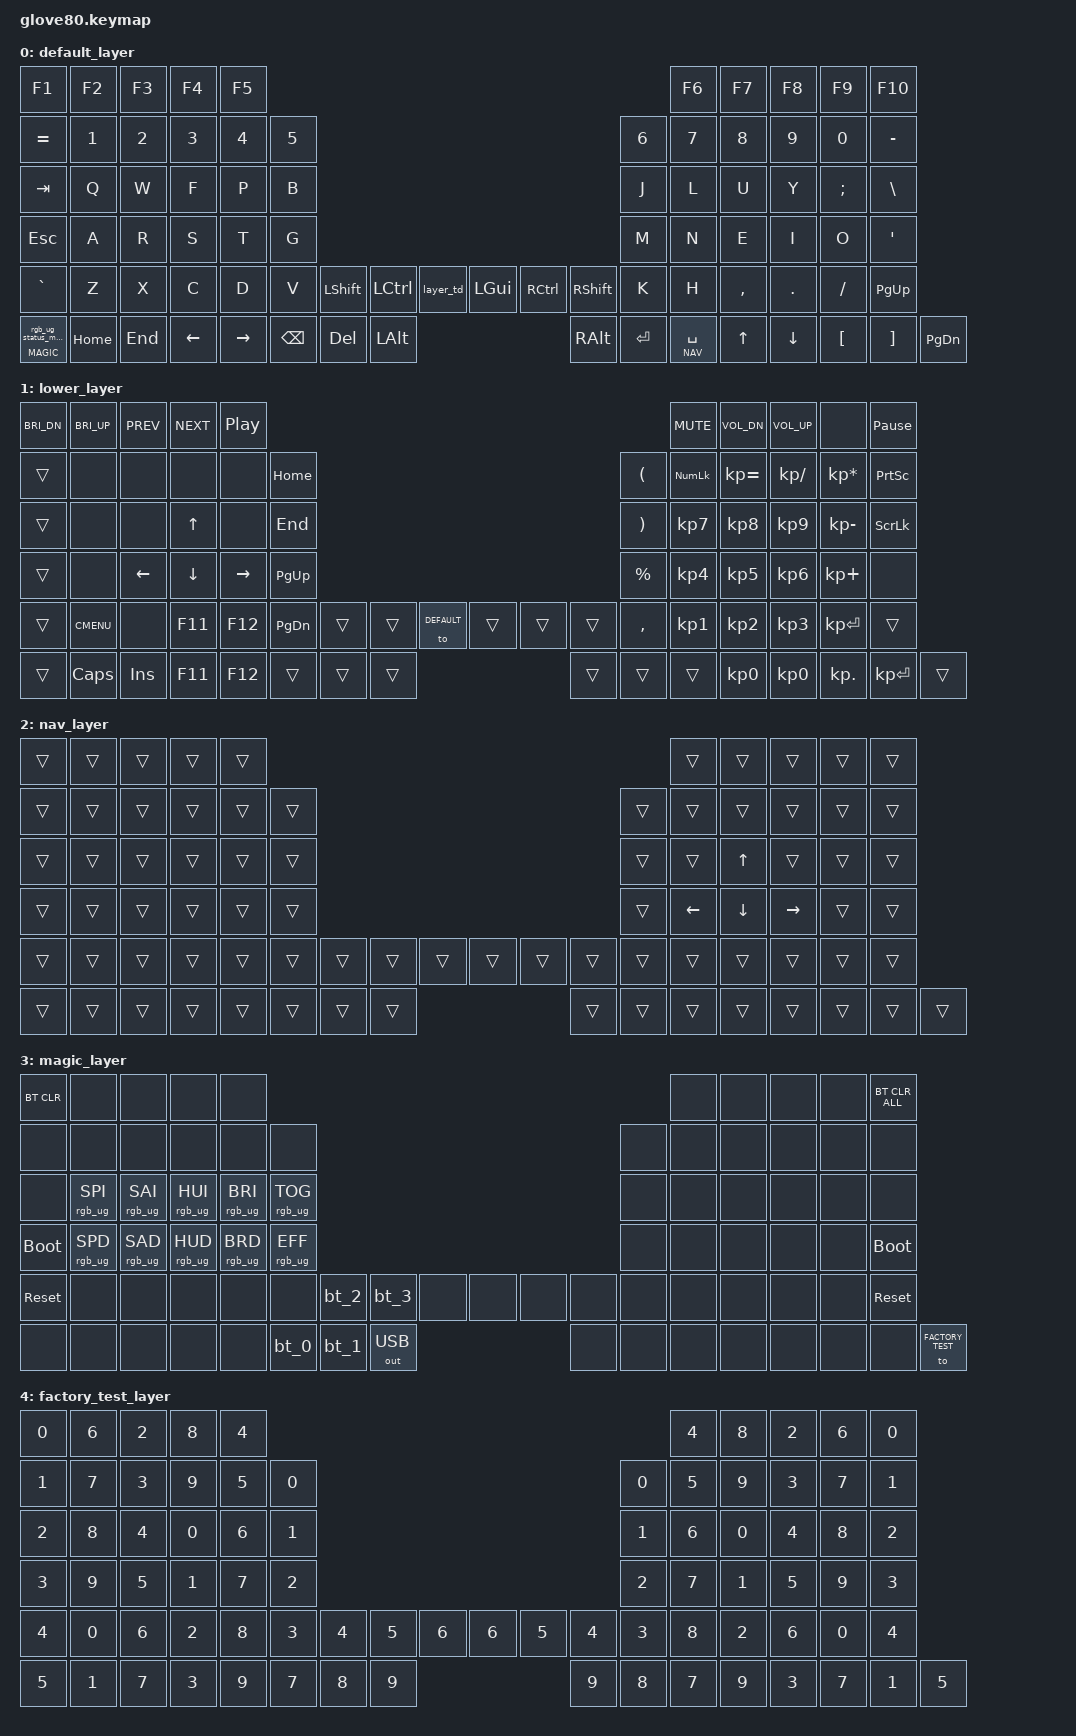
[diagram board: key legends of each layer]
/*
 * Copyright (c) 2020 The ZMK Contributors
 *
 * SPDX-License-Identifier: MIT
 */

#include <behaviors.dtsi>
#include <dt-bindings/zmk/keys.h>
#include <dt-bindings/zmk/bt.h>
#include <dt-bindings/zmk/ext_power.h>
#include <dt-bindings/zmk/outputs.h>
#include <dt-bindings/zmk/rgb.h>

#define HYPER LC(LS(LG(LALT)))

// layers
#define DEFAULT 0
#define LOWER 1
#define NAV 2
#define MAGIC 3
#define FACTORY_TEST 4

/ {
    behaviors {
        // For the "layer" key, it'd nice to be able to use it as either a shift or a toggle.
        // Configure it as a tap dance, so the first tap (or hold) is a &mo and the second tap is a &to
        layer_td: tap_dance_0 {
            compatible = "zmk,behavior-tap-dance";
            label = "LAYER_TAP_DANCE";
            #binding-cells = <0>;
            tapping-term-ms = <200>;
            bindings = <&mo LOWER>, <&to LOWER>;
        };

        magic: magic_hold_tap {
            compatible = "zmk,behavior-hold-tap";
            label = "MAGIC_HOLD_TAP";
            #binding-cells = <2>;
            flavor = "tap-preferred";
            tapping-term-ms = <200>;
            bindings = <&mo>, <&rgb_ug_status_macro>;
        };

        // Navigation layer hold-tap: hold for nav layer, tap for space
        nav_hold_tap: nav_hold_tap {
            compatible = "zmk,behavior-hold-tap";
            label = "NAV_HOLD_TAP";
            #binding-cells = <2>;
            flavor = "balanced";
            tapping-term-ms = <200>;
            bindings = <&mo>, <&kp>;
        };
    };

    macros {
        rgb_ug_status_macro: rgb_ug_status_macro_0 {
            label = "RGB_UG_STATUS";
            compatible = "zmk,behavior-macro";
            #binding-cells = <0>;
            bindings
                = <&rgb_ug RGB_STATUS>;
        };

        bt_0: bt_profile_macro_0 {
            label = "BT_0";
            compatible = "zmk,behavior-macro";
            #binding-cells = <0>;
            bindings
                = <&out OUT_BLE>,
                  <&bt BT_SEL 0>;
        };

        bt_1: bt_profile_macro_1 {
            label = "BT_1";
            compatible = "zmk,behavior-macro";
            #binding-cells = <0>;
            bindings
                = <&out OUT_BLE>,
                  <&bt BT_SEL 1>;
        };

        bt_2: bt_profile_macro_2 {
            label = "BT_2";
            compatible = "zmk,behavior-macro";
            #binding-cells = <0>;
            bindings
                = <&out OUT_BLE>,
                  <&bt BT_SEL 2>;
        };

        bt_3: bt_profile_macro_3 {
            label = "BT_3";
            compatible = "zmk,behavior-macro";
            #binding-cells = <0>;
            bindings
                = <&out OUT_BLE>,
                  <&bt BT_SEL 3>;
        };
    };

    keymap {
        compatible = "zmk,keymap";

        default_layer {
            // Colemak Mod-DH layout
            // ---------------------------------------------------------------------------------------------------------------------------------
            // |  F1   |  F2 |  F3 |  F4  |  F5  |                                                               |  F6   |  F7   |  F8  |   F9  |  F10 |
            // |  =    |  1  |  2  |  3   |  4   |  5   |                                                 |  6   |   7   |   8   |  9   |   0   |   -  |
            // |  TAB  |  Q  |  W  |  F   |  P   |  B   |                                                 |  J   |   L   |   U   |  Y   |   ;   |   \  |
            // |  ESC  |  A  |  R  |  S   |  T   |  G   |                                                 |  M   |   N   |   E   |  I   |   O   |   "  |
            // |   `   |  Z  |  X  |  C   |  D   |  V   | LSHFT | LCTRL | LOWER | | LGUI  | RCTRL | RSHFT |  K   |   H   |   ,   |  .   |   /   | PGUP |
            // | MAGIC | HOME| END | LEFT | RIGHT|      | BSPC  | DEL   | LALT  | | RALT  | RET   | NAV   |      |  UP   | DOWN  |  [   |   ]   | PGDN |

            bindings = <
            &kp F1         &kp F2   &kp F3      &kp F4      &kp F5                                                                                         &kp F6  &kp F7      &kp F8      &kp F9      &kp F10
            &kp EQUAL      &kp N1   &kp N2      &kp N3      &kp N4      &kp N5                                                                     &kp N6  &kp N7  &kp N8      &kp N9      &kp N0      &kp MINUS
            &kp TAB        &kp Q    &kp W       &kp F       &kp P       &kp B                                                                      &kp J   &kp L   &kp U       &kp Y       &kp SEMI    &kp BSLH
            &kp ESC        &kp A    &kp R       &kp S       &kp T       &kp G                                                                      &kp M   &kp N   &kp E       &kp I       &kp O       &kp SQT
            &kp GRAVE      &kp Z    &kp X       &kp C       &kp D       &kp V   &kp LSHFT   &kp LCTRL   &layer_td  &kp LGUI  &kp RCTRL &kp RSHFT   &kp K   &kp H   &kp COMMA   &kp DOT     &kp FSLH    &kp PG_UP
            &magic MAGIC 0 &kp HOME &kp END     &kp LEFT    &kp RIGHT           &kp BSPC    &kp DEL     &kp LALT   &kp RALT  &kp RET   &nav_hold_tap NAV SPACE        &kp UP  &kp DOWN    &kp LBKT    &kp RBKT    &kp PG_DN
            >;
        };

        lower_layer {
            bindings = <
            &kp C_BRI_DN      &kp C_BRI_UP        &kp C_PREV      &kp C_NEXT      &kp C_PP                                                                                                           &kp C_MUTE   &kp C_VOL_DN &kp C_VOL_UP  &none           &kp PAUSE_BREAK
            &trans            &none               &none           &none           &none           &kp HOME                                                                              &kp LPAR     &kp KP_NUM   &kp KP_EQUAL &kp KP_DIVIDE &kp KP_MULTIPLY &kp PSCRN
            &trans            &none               &none           &kp UP          &none           &kp END                                                                               &kp RPAR     &kp KP_N7    &kp KP_N8    &kp KP_N9     &kp KP_MINUS    &kp SLCK
            &trans            &none               &kp LEFT        &kp DOWN        &kp RIGHT       &kp PG_UP                                                                             &kp PRCNT    &kp KP_N4    &kp KP_N5    &kp KP_N6     &kp KP_PLUS     &none
            &trans            &kp K_CMENU         &none           &kp F11         &kp F12         &kp PG_DN       &trans      &trans      &to DEFAULT &trans      &trans      &trans    &kp COMMA    &kp KP_N1    &kp KP_N2    &kp KP_N3     &kp KP_ENTER    &trans
            &trans            &kp CAPS            &kp INS         &kp F11         &kp F12                         &trans      &trans      &trans      &trans      &trans      &trans                 &kp KP_N0    &kp KP_N0    &kp KP_DOT    &kp KP_ENTER    &trans
            >;
        };

        nav_layer {
            // Navigation layer - NEIU layout for Colemak Mod-DH
            // Hold the right thumb NAV key to activate this layer
            // Mapped to home row and surrounding keys:
            // N = LEFT, E = DOWN, I = RIGHT, U = UP
            // All other keys are transparent (pass through to layer below)
            bindings = <
            &trans         &trans   &trans      &trans      &trans                                                                                         &trans  &trans      &trans      &trans      &trans
            &trans         &trans   &trans      &trans      &trans      &trans                                                                     &trans  &trans  &trans      &trans      &trans      &trans
            &trans         &trans   &trans      &trans      &trans      &trans                                                                     &trans  &trans  &kp UP      &trans      &trans      &trans
            &trans         &trans   &trans      &trans      &trans      &trans                                                                     &trans  &kp LEFT &kp DOWN   &kp RIGHT   &trans      &trans
            &trans         &trans   &trans      &trans      &trans      &trans  &trans      &trans      &trans     &trans    &trans    &trans      &trans  &trans  &trans      &trans      &trans      &trans
            &trans         &trans   &trans      &trans      &trans              &trans      &trans      &trans     &trans    &trans    &trans              &trans  &trans      &trans      &trans      &trans
            >;
        };

        magic_layer {
            bindings = <
            &bt BT_CLR        &none               &none           &none           &none                                                                                                           &none      &none      &none      &none      &bt BT_CLR_ALL
            &none             &none               &none           &none           &none           &none                                                                                &none      &none      &none      &none      &none      &none
            &none             &rgb_ug RGB_SPI     &rgb_ug RGB_SAI &rgb_ug RGB_HUI &rgb_ug RGB_BRI &rgb_ug RGB_TOG                                                                      &none      &none      &none      &none      &none      &none
            &bootloader       &rgb_ug RGB_SPD     &rgb_ug RGB_SAD &rgb_ug RGB_HUD &rgb_ug RGB_BRD &rgb_ug RGB_EFF                                                                      &none      &none      &none      &none      &none      &bootloader
            &sys_reset        &none               &none           &none           &none           &none           &bt_2     &bt_3     &none            &none     &none     &none       &none      &none      &none      &none      &none      &sys_reset
            &none             &none               &none           &none           &none                           &bt_0     &bt_1     &out OUT_USB     &none     &none     &none                  &none      &none      &none      &none      &to FACTORY_TEST
            >;
        };

        factory_test_layer {
            bindings = <
            &kp N0   &kp N6   &kp N2   &kp N8   &kp N4                                                                              &kp N4   &kp N8   &kp N2   &kp N6   &kp N0
            &kp N1   &kp N7   &kp N3   &kp N9   &kp N5   &kp N0                                                            &kp N0   &kp N5   &kp N9   &kp N3   &kp N7   &kp N1
            &kp N2   &kp N8   &kp N4   &kp N0   &kp N6   &kp N1                                                            &kp N1   &kp N6   &kp N0   &kp N4   &kp N8   &kp N2
            &kp N3   &kp N9   &kp N5   &kp N1   &kp N7   &kp N2                                                            &kp N2   &kp N7   &kp N1   &kp N5   &kp N9   &kp N3
            &kp N4   &kp N0   &kp N6   &kp N2   &kp N8   &kp N3   &kp N4   &kp N5   &kp N6      &kp N6   &kp N5   &kp N4   &kp N3   &kp N8   &kp N2   &kp N6   &kp N0   &kp N4
            &kp N5   &kp N1   &kp N7   &kp N3   &kp N9            &kp N7   &kp N8   &kp N9      &kp N9   &kp N8   &kp N7            &kp N9   &kp N3   &kp N7   &kp N1   &kp N5
            >;
        };
    };
};
